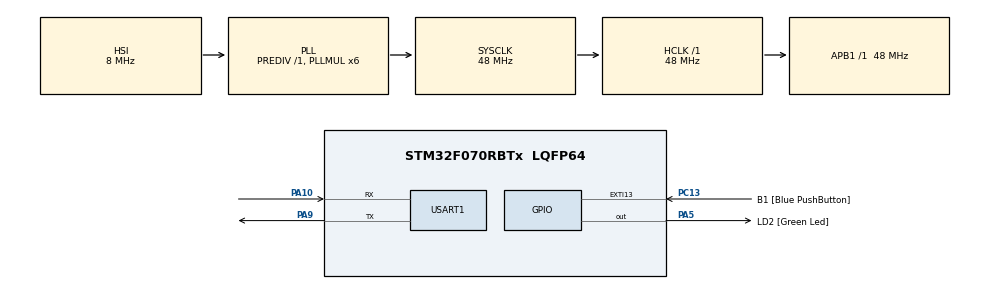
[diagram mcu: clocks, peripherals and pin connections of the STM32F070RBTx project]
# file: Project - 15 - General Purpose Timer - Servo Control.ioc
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Mcu.Family=STM32F0
Mcu.Name=STM32F070RBTx
Mcu.Package=LQFP64
PA10.Mode=Asynchronous
PA10.Signal=USART1_RX
PA13.GPIO_Label=TMS
PA13.Signal=SYS_SWDIO
PA2.GPIO_Label=USART_TX
PA2.Signal=USART2_TX
PA3.GPIO_Label=USART_RX
PA3.Signal=USART2_RX
PA5.GPIO_Label=LD2 [Green Led]
PA5.Signal=GPIO_Output
PA9.Mode=Asynchronous
PA9.Signal=USART1_TX
PC13.GPIO_Label=B1 [Blue PushButton]
PC13.GPIO_ModeDefaultEXTI=GPIO_MODE_IT_FALLING
PC13.Signal=GPXTI13
PC14-OSC32_IN.GPIO_Label=RCC_OSC32_IN
PC14-OSC32_IN.Signal=RCC_OSC32_IN
PC15-OSC32_OUT.GPIO_Label=RCC_OSC32_OUT
PC15-OSC32_OUT.Signal=RCC_OSC32_OUT
PF0-OSC_IN.GPIO_Label=RCC_OSC_IN
PF0-OSC_IN.Signal=RCC_OSC_IN
PF1-OSC_OUT.GPIO_Label=RCC_OSC_OUT
PF1-OSC_OUT.Signal=RCC_OSC_OUT
ProjectManager.HeapSize=0x200
ProjectManager.StackSize=0x400
ProjectManager.TargetToolchain=STM32CubeIDE
RCC.AHBFreq_Value=48000000
RCC.APB1Freq_Value=48000000
RCC.APB1TimFreq_Value=48000000
RCC.HCLKFreq_Value=48000000
RCC.PLLMUL=RCC_PLL_MUL6
RCC.SYSCLKFreq_VALUE=48000000
RCC.SYSCLKSource=RCC_SYSCLKSOURCE_PLLCLK
USART1.VirtualMode-Asynchronous=VM_ASYNC
board=NUCLEO-F070RB

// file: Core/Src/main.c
/* USER CODE BEGIN Header */
/**
  ******************************************************************************
  * @file           : main.c
  * @brief          : Main program body
  ******************************************************************************
  * @attention
  *
  * <h2><center>&copy; Copyright (c) 2020 STMicroelectronics.
  * All rights reserved.</center></h2>
  *
  * This software component is licensed by ST under BSD 3-Clause license,
  * the "License"; You may not use this file except in compliance with the
  * License. You may obtain a copy of the License at:
  *                        opensource.org/licenses/BSD-3-Clause
  *
  ******************************************************************************
  */
/* USER CODE END Header */
#include "main.h"

/* USER CODE BEGIN Includes */
#include "uart_driver.h"
#include "servo_driver.h"
/* USER CODE END Includes */

/* USER CODE BEGIN PTD */
static void servo_sweep(void);
/* USER CODE END PTD */

UART_HandleTypeDef huart1;

void SystemClock_Config(void);
static void MX_GPIO_Init(void);
static void MX_USART1_UART_Init(void);

int main(void)
{

  /* MCU Configuration--------------------------------------------------------*/

  /* Reset of all peripherals, Initializes the Flash interface and the Systick. */
  HAL_Init();

  /* Configure the system clock */
  SystemClock_Config();

  /* Initialize all configured peripherals */
  MX_GPIO_Init();
  MX_USART1_UART_Init();
  /* USER CODE BEGIN 2 */
  UART_Init();
  servo_init();
  /* USER CODE END 2 */

  /* Infinite loop */
  /* USER CODE BEGIN WHILE */
  servo_enable();
  while (1)
  {
    /* USER CODE END WHILE */

    /* USER CODE BEGIN 3 */

	servo_sweep();
  }
  /* USER CODE END 3 */
}

void SystemClock_Config(void)
{
  RCC_OscInitTypeDef RCC_OscInitStruct = {0};
  RCC_ClkInitTypeDef RCC_ClkInitStruct = {0};
  RCC_PeriphCLKInitTypeDef PeriphClkInit = {0};

  /** Initializes the RCC Oscillators according to the specified parameters
  * in the RCC_OscInitTypeDef structure.
  */
  RCC_OscInitStruct.OscillatorType = RCC_OSCILLATORTYPE_HSI;
  RCC_OscInitStruct.HSIState = RCC_HSI_ON;
  RCC_OscInitStruct.HSICalibrationValue = RCC_HSICALIBRATION_DEFAULT;
  RCC_OscInitStruct.PLL.PLLState = RCC_PLL_ON;
  RCC_OscInitStruct.PLL.PLLSource = RCC_PLLSOURCE_HSI;
  RCC_OscInitStruct.PLL.PLLMUL = RCC_PLL_MUL6;
  RCC_OscInitStruct.PLL.PREDIV = RCC_PREDIV_DIV1;
  if (HAL_RCC_OscConfig(&RCC_OscInitStruct) != HAL_OK)
  {
    Error_Handler();
  }

  /** Initializes the CPU, AHB and APB buses clocks
  */
  RCC_ClkInitStruct.ClockType = RCC_CLOCKTYPE_HCLK|RCC_CLOCKTYPE_SYSCLK
                              |RCC_CLOCKTYPE_PCLK1;
  RCC_ClkInitStruct.SYSCLKSource = RCC_SYSCLKSOURCE_PLLCLK;
  RCC_ClkInitStruct.AHBCLKDivider = RCC_SYSCLK_DIV1;
  RCC_ClkInitStruct.APB1CLKDivider = RCC_HCLK_DIV1;

  if (HAL_RCC_ClockConfig(&RCC_ClkInitStruct, FLASH_LATENCY_1) != HAL_OK)
  {
    Error_Handler();
  }
  PeriphClkInit.PeriphClockSelection = RCC_PERIPHCLK_USART1;
  PeriphClkInit.Usart1ClockSelection = RCC_USART1CLKSOURCE_PCLK1;
  if (HAL_RCCEx_PeriphCLKConfig(&PeriphClkInit) != HAL_OK)
  {
    Error_Handler();
  }
}

static void MX_USART1_UART_Init(void)
{

  huart1.Instance = USART1;
  huart1.Init.BaudRate = 38400;
  huart1.Init.WordLength = UART_WORDLENGTH_8B;
  huart1.Init.StopBits = UART_STOPBITS_1;
  huart1.Init.Parity = UART_PARITY_NONE;
  huart1.Init.Mode = UART_MODE_TX_RX;
  huart1.Init.HwFlowCtl = UART_HWCONTROL_NONE;
  huart1.Init.OverSampling = UART_OVERSAMPLING_16;
  huart1.Init.OneBitSampling = UART_ONE_BIT_SAMPLE_DISABLE;
  huart1.AdvancedInit.AdvFeatureInit = UART_ADVFEATURE_NO_INIT;
  if (HAL_UART_Init(&huart1) != HAL_OK)
  {
    Error_Handler();
  }

}

static void MX_GPIO_Init(void)
{
  GPIO_InitTypeDef GPIO_InitStruct = {0};

  /* GPIO Ports Clock Enable */
  __HAL_RCC_GPIOC_CLK_ENABLE();
  __HAL_RCC_GPIOF_CLK_ENABLE();
  __HAL_RCC_GPIOA_CLK_ENABLE();

  /*Configure GPIO pin Output Level */
  HAL_GPIO_WritePin(LD2_GPIO_Port, LD2_Pin, GPIO_PIN_RESET);

  /*Configure GPIO pin : B1_Pin */
  GPIO_InitStruct.Pin = B1_Pin;
  GPIO_InitStruct.Mode = GPIO_MODE_IT_FALLING;
  GPIO_InitStruct.Pull = GPIO_NOPULL;
  HAL_GPIO_Init(B1_GPIO_Port, &GPIO_InitStruct);

  /*Configure GPIO pins : USART_TX_Pin USART_RX_Pin */
  GPIO_InitStruct.Pin = USART_TX_Pin|USART_RX_Pin;
  GPIO_InitStruct.Mode = GPIO_MODE_AF_PP;
  GPIO_InitStruct.Pull = GPIO_NOPULL;
  GPIO_InitStruct.Speed = GPIO_SPEED_FREQ_HIGH;
  GPIO_InitStruct.Alternate = GPIO_AF1_USART2;
  HAL_GPIO_Init(GPIOA, &GPIO_InitStruct);

  /*Configure GPIO pin : LD2_Pin */
  GPIO_InitStruct.Pin = LD2_Pin;
  GPIO_InitStruct.Mode = GPIO_MODE_OUTPUT_PP;
  GPIO_InitStruct.Pull = GPIO_NOPULL;
  GPIO_InitStruct.Speed = GPIO_SPEED_FREQ_LOW;
  HAL_GPIO_Init(LD2_GPIO_Port, &GPIO_InitStruct);

}

/* USER CODE BEGIN 4 */
static void servo_sweep(void)
{
	static int32_t sweep = 0 ;

	for(sweep = 1; sweep < 2000; sweep++)
	{
		servo_set_duty_cycle(sweep,1);
		servo_set_duty_cycle(sweep,2);
		HAL_Delay(1);
	}

	for(sweep = 2000; sweep > 1; sweep--)
	{
		servo_set_duty_cycle(sweep,1);
		servo_set_duty_cycle(sweep,2);
		HAL_Delay(1);
	}
}
/* USER CODE END 4 */

void Error_Handler(void)
{
  __disable_irq();
  while (1)
  {
  }
}
